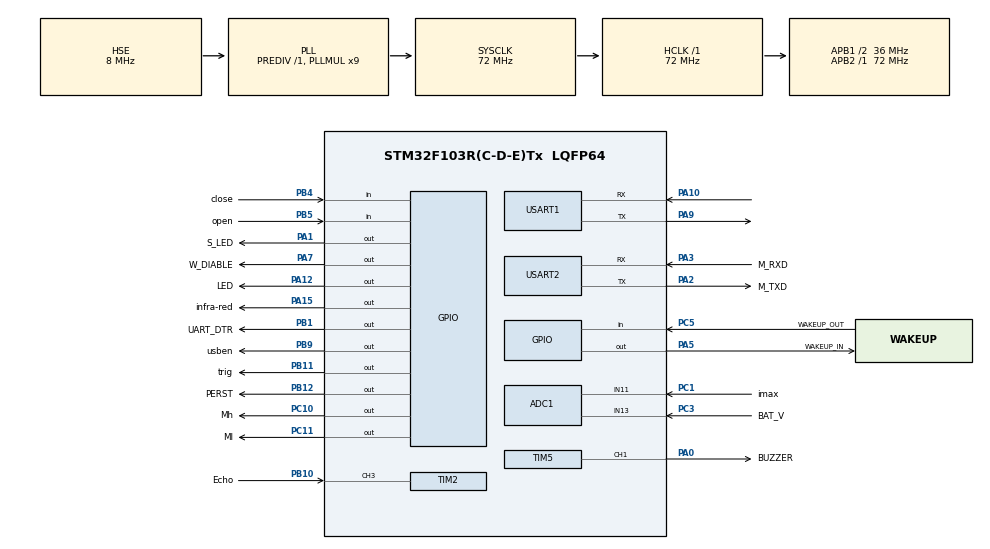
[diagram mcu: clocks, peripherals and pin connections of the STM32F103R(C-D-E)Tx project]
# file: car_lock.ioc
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ADC1.Channel-6\#ChannelRegularConversion=ADC_CHANNEL_11
ADC1.Channel-7\#ChannelRegularConversion=ADC_CHANNEL_11
ADC1.Channel-8\#ChannelRegularConversion=ADC_CHANNEL_13
ADC1.ContinuousConvMode=DISABLE
ADC1.DataAlign=ADC_DATAALIGN_RIGHT
ADC1.DiscontinuousConvMode=ENABLE
ADC1.EnableAnalogWatchDog=false
ADC1.EnableRegularConversion=ENABLE
ADC1.ExternalTrigConv=ADC_SOFTWARE_START
ADC1.InjNumberOfConversion=0
ADC1.NbrOfConversion=2
ADC1.NbrOfConversionFlag=1
ADC1.NbrOfDiscConversion=1
ADC1.Rank-6\#ChannelRegularConversion=2
ADC1.Rank-7\#ChannelRegularConversion=1
ADC1.Rank-8\#ChannelRegularConversion=2
ADC1.SamplingTime-6\#ChannelRegularConversion=ADC_SAMPLETIME_1CYCLE_5
ADC1.SamplingTime-7\#ChannelRegularConversion=ADC_SAMPLETIME_55CYCLES_5
ADC1.SamplingTime-8\#ChannelRegularConversion=ADC_SAMPLETIME_55CYCLES_5
ADC1.ScanConvMode=ADC_SCAN_ENABLE
ADC1.master=1
Dma.ADC1.2.Direction=DMA_PERIPH_TO_MEMORY
Dma.ADC1.2.Instance=DMA1_Channel1
Dma.ADC1.2.MemDataAlignment=DMA_MDATAALIGN_WORD
Dma.ADC1.2.MemInc=DMA_MINC_ENABLE
Dma.ADC1.2.Mode=DMA_CIRCULAR
Dma.ADC1.2.PeriphDataAlignment=DMA_PDATAALIGN_WORD
Dma.ADC1.2.PeriphInc=DMA_PINC_DISABLE
Dma.ADC1.2.Priority=DMA_PRIORITY_LOW
Dma.Request0=USART2_TX
Dma.Request1=USART2_RX
Dma.Request2=ADC1
Dma.USART2_RX.1.Direction=DMA_PERIPH_TO_MEMORY
Dma.USART2_RX.1.Instance=DMA1_Channel6
Dma.USART2_RX.1.MemDataAlignment=DMA_MDATAALIGN_BYTE
Dma.USART2_RX.1.MemInc=DMA_MINC_ENABLE
Dma.USART2_RX.1.Mode=DMA_NORMAL
Dma.USART2_RX.1.PeriphDataAlignment=DMA_PDATAALIGN_BYTE
Dma.USART2_RX.1.PeriphInc=DMA_PINC_DISABLE
Dma.USART2_RX.1.Priority=DMA_PRIORITY_LOW
Dma.USART2_TX.0.Direction=DMA_MEMORY_TO_PERIPH
Dma.USART2_TX.0.Instance=DMA1_Channel7
Dma.USART2_TX.0.MemDataAlignment=DMA_MDATAALIGN_BYTE
Dma.USART2_TX.0.MemInc=DMA_MINC_ENABLE
Dma.USART2_TX.0.Mode=DMA_NORMAL
Dma.USART2_TX.0.PeriphDataAlignment=DMA_PDATAALIGN_BYTE
Dma.USART2_TX.0.PeriphInc=DMA_PINC_DISABLE
Dma.USART2_TX.0.Priority=DMA_PRIORITY_LOW
FREERTOS.Queues01=EC20Queue,16,uint16_t,0,Dynamic,NULL,NULL;mqttQueue,16,uint16_t,0,Dynamic,NULL,NULL;controlQueue,2,uint16_t,0,Dynamic,NULL,NULL;statusQueue,2,uint16_t,0,Dynamic,NULL,NULL
FREERTOS.Tasks01=defaultTask,2,128,StartDefaultTask,Default,NULL,Dynamic,NULL,NULL;MQTT_Task,2,512,U_MQTT,Default,NULL,Dynamic,NULL,NULL;decod_Task,1,512,decoding,Default,NULL,Dynamic,NULL,NULL;monitorTask,0,256,monitor,Default,NULL,Dynamic,NULL,NULL;controlTask,1,256,control,Default,NULL,Dynamic,NULL,NULL
FREERTOS.configTOTAL_HEAP_SIZE=10240
Mcu.Family=STM32F1
Mcu.Name=STM32F103R(C-D-E)Tx
Mcu.Package=LQFP64
NVIC.DMA1_Channel1_IRQn=true\:7\:0\:true\:false\:true\:true\:false
NVIC.DMA1_Channel6_IRQn=true\:6\:0\:true\:false\:true\:true\:false
NVIC.DMA1_Channel7_IRQn=true\:6\:0\:true\:false\:true\:true\:false
NVIC.PriorityGroup=NVIC_PRIORITYGROUP_4
NVIC.TIM2_IRQn=true\:7\:0\:true\:false\:true\:true\:true
NVIC.TIM8_UP_IRQn=true\:0\:0\:false\:false\:true\:false\:false
NVIC.TimeBase=TIM8_UP_IRQn
NVIC.TimeBaseIP=TIM8
NVIC.USART2_IRQn=true\:6\:0\:true\:false\:true\:true\:true
PA0-WKUP.GPIO_Label=BUZZER
PA0-WKUP.Signal=S_TIM5_CH1
PA1.GPIO_Label=S_LED
PA1.Signal=GPIO_Output
PA10.Mode=Asynchronous
PA10.Signal=USART1_RX
PA12.GPIO_Label=LED
PA12.Signal=GPIO_Output
PA13.Mode=Serial_Wire
PA13.Signal=SYS_JTMS-SWDIO
PA14.Mode=Serial_Wire
PA14.Signal=SYS_JTCK-SWCLK
PA15.GPIO_Label=infra-red
PA15.Signal=GPIO_Output
PA2.GPIO_Label=M_TXD
PA2.Mode=Asynchronous
PA2.Signal=USART2_TX
PA3.GPIO_Label=M_RXD
PA3.Mode=Asynchronous
PA3.Signal=USART2_RX
PA5.GPIO_Label=WAKEUP_IN
PA5.Signal=GPIO_Output
PA7.GPIO_Label=W_DIABLE
PA7.PinState=GPIO_PIN_SET
PA7.Signal=GPIO_Output
PA9.Mode=Asynchronous
PA9.Signal=USART1_TX
PB1.GPIO_Label=UART_DTR
PB1.Signal=GPIO_Output
PB10.GPIO_Label=Echo
PB10.GPIO_PuPd=GPIO_PULLDOWN
PB10.Signal=S_TIM2_CH3
PB11.GPIO_Label=trig
PB11.Signal=GPIO_Output
PB12.GPIO_Label=PERST
PB12.PinState=GPIO_PIN_SET
PB12.Signal=GPIO_Output
PB4.GPIO_Label=close
PB4.Signal=GPIO_Input
PB5.GPIO_Label=open
PB5.Signal=GPIO_Input
PB9.GPIO_Label=usben
PB9.Signal=GPIO_Output
PC1.GPIO_Label=imax
PC1.Signal=ADCx_IN11
PC10.GPIO_Label=Mh
PC10.Signal=GPIO_Output
PC11.GPIO_Label=Ml
PC11.Signal=GPIO_Output
PC14-OSC32_IN.Mode=LSE-External-Oscillator
PC14-OSC32_IN.Signal=RCC_OSC32_IN
PC15-OSC32_OUT.Mode=LSE-External-Oscillator
PC15-OSC32_OUT.Signal=RCC_OSC32_OUT
PC3.GPIO_Label=BAT_V
PC3.Signal=ADCx_IN13
PC5.GPIO_Label=WAKEUP_OUT
PC5.Signal=GPIO_Input
PD0-OSC_IN.Mode=HSE-External-Oscillator
PD0-OSC_IN.Signal=RCC_OSC_IN
PD1-OSC_OUT.Mode=HSE-External-Oscillator
PD1-OSC_OUT.Signal=RCC_OSC_OUT
ProjectManager.HeapSize=0x600
ProjectManager.StackSize=0x800
ProjectManager.TargetToolchain=Other Toolchains (GPDSC)
RCC.ADCPresc=RCC_ADCPCLK2_DIV6
RCC.AHBFreq_Value=72000000
RCC.APB1CLKDivider=RCC_HCLK_DIV2
RCC.APB1Freq_Value=36000000
RCC.APB1TimFreq_Value=72000000
RCC.APB2Freq_Value=72000000
RCC.APB2TimFreq_Value=72000000
RCC.HCLKFreq_Value=72000000
RCC.PLLMUL=RCC_PLL_MUL9
RCC.PLLSourceVirtual=RCC_PLLSOURCE_HSE
RCC.SYSCLKFreq_VALUE=72000000
RCC.SYSCLKSource=RCC_SYSCLKSOURCE_PLLCLK
RCC.USBFreq_Value=48000000
RCC.USBPrescaler=RCC_USBCLKSOURCE_PLL_DIV1_5
SH.ADCx_IN11.0=ADC1_IN11,IN11
SH.ADCx_IN13.0=ADC1_IN13,IN13
SH.S_TIM2_CH3.0=TIM2_CH3,Input_Capture3_from_TI3
SH.S_TIM5_CH1.0=TIM5_CH1,PWM Generation1 CH1
TIM2.Channel-Input_Capture3_from_TI3=TIM_CHANNEL_3
TIM2.Period=0xffff
TIM2.Prescaler=719
TIM5.Channel-PWM\ Generation1\ CH1=TIM_CHANNEL_1
TIM5.ClockDivision=TIM_CLOCKDIVISION_DIV1
TIM5.Period=1000
TIM5.Prescaler=7199
TIM5.Pulse-PWM\ Generation1\ CH1=500
USART1.VirtualMode=VM_ASYNC
USART2.VirtualMode=VM_ASYNC
VP_FREERTOS_VS_ENABLE.Mode=Enabled
VP_SYS_VS_tim8.Mode=TIM8
VP_TIM2_VS_ClockSourceINT.Mode=Internal
board=custom

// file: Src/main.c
/**
  ******************************************************************************
  * @file           : main.c
  * @brief          : Main program body
  ******************************************************************************
  * This notice applies to any and all portions of this file
  * that are not between comment pairs USER CODE BEGIN and
  * USER CODE END. Other portions of this file, whether
  * inserted by the user or by software development tools
  * are owned by their respective copyright owners.
  *
  * Copyright (c) 2018 STMicroelectronics International N.V.
  * All rights reserved.
  *
  * Redistribution and use in source and binary forms, with or without
  * modification, are permitted, provided that the following conditions are met:
  *
  * 1. Redistribution of source code must retain the above copyright notice,
  *    this list of conditions and the following disclaimer.
  * 2. Redistributions in binary form must reproduce the above copyright notice,
  *    this list of conditions and the following disclaimer in the documentation
  *    and/or other materials provided with the distribution.
  * 3. Neither the name of STMicroelectronics nor the names of other
  *    contributors to this software may be used to endorse or promote products
  *    derived from this software without specific written permission.
  * 4. This software, including modifications and/or derivative works of this
  *    software, must execute solely and exclusively on microcontroller or
  *    microprocessor devices manufactured by or for STMicroelectronics.
  * 5. Redistribution and use of this software other than as permitted under
  *    this license is void and will automatically terminate your rights under
  *    this license.
  *
  * THIS SOFTWARE IS PROVIDED BY STMICROELECTRONICS AND CONTRIBUTORS "AS IS"
  * AND ANY EXPRESS, IMPLIED OR STATUTORY WARRANTIES, INCLUDING, BUT NOT
  * LIMITED TO, THE IMPLIED WARRANTIES OF MERCHANTABILITY, FITNESS FOR A
  * PARTICULAR PURPOSE AND NON-INFRINGEMENT OF THIRD PARTY INTELLECTUAL PROPERTY
  * RIGHTS ARE DISCLAIMED TO THE FULLEST EXTENT PERMITTED BY LAW. IN NO EVENT
  * SHALL STMICROELECTRONICS OR CONTRIBUTORS BE LIABLE FOR ANY DIRECT, INDIRECT,
  * INCIDENTAL, SPECIAL, EXEMPLARY, OR CONSEQUENTIAL DAMAGES (INCLUDING, BUT NOT
  * LIMITED TO, PROCUREMENT OF SUBSTITUTE GOODS OR SERVICES; LOSS OF USE, DATA,
  * OR PROFITS; OR BUSINESS INTERRUPTION) HOWEVER CAUSED AND ON ANY THEORY OF
  * LIABILITY, WHETHER IN CONTRACT, STRICT LIABILITY, OR TORT (INCLUDING
  * NEGLIGENCE OR OTHERWISE) ARISING IN ANY WAY OUT OF THE USE OF THIS SOFTWARE,
  * EVEN IF ADVISED OF THE POSSIBILITY OF SUCH DAMAGE.
  *
  ******************************************************************************
  */
#include "main.h"
#include "stm32f1xx_hal.h"
#include "cmsis_os.h"
#include "adc.h"
#include "dma.h"
#include "tim.h"
#include "usart.h"
#include "gpio.h"

/* USER CODE BEGIN PV */
/* Private variables ---------------------------------------------------------*/

/* USER CODE END PV */

void SystemClock_Config(void);
void MX_FREERTOS_Init(void);

/* USER CODE BEGIN PFP */
/* Private function prototypes -----------------------------------------------*/

/* USER CODE END PFP */

/* USER CODE BEGIN 0 */
#ifdef __GNUC__
/* With GCC, small printf (option LD Linker->Libraries->Small printf
   set to 'Yes') calls __io_putchar() */
#define PUTCHAR_PROTOTYPE int __io_putchar(int ch)
#else
#define PUTCHAR_PROTOTYPE int fputc(int ch, FILE *f)
#endif /* __GNUC__ */
/* USER CODE END 0 */

int main(void)
{

  /* MCU Configuration----------------------------------------------------------*/

  /* Reset of all peripherals, Initializes the Flash interface and the Systick. */
  HAL_Init();

  /* Configure the system clock */
  SystemClock_Config();

  /* Initialize all configured peripherals */
  MX_GPIO_Init();
  MX_DMA_Init();
  MX_ADC1_Init();
  MX_USART1_UART_Init();
  MX_USART2_UART_Init();
  MX_TIM2_Init();
  MX_TIM5_Init();
  /* USER CODE BEGIN 2 */

//	__HAL_UART_DISABLE_IT(&huart2, UART_IT_IDLE);
//	__HAL_UART_DISABLE_IT(&huart2, UART_IT_RXNE);
	__HAL_UART_ENABLE_IT(&huart2, UART_IT_IDLE);
	__HAL_UART_ENABLE_IT(&huart2, UART_IT_RXNE);

  /* USER CODE END 2 */

  /* Call init function for freertos objects (in freertos.c) */
  MX_FREERTOS_Init();

  /* Start scheduler */
  osKernelStart();

  /* We should never get here as control is now taken by the scheduler */

  /* Infinite loop */
  while (1)
  {

  }

}

void SystemClock_Config(void)
{

  RCC_OscInitTypeDef RCC_OscInitStruct;
  RCC_ClkInitTypeDef RCC_ClkInitStruct;
  RCC_PeriphCLKInitTypeDef PeriphClkInit;

    /**Initializes the CPU, AHB and APB busses clocks
    */
  RCC_OscInitStruct.OscillatorType = RCC_OSCILLATORTYPE_HSE;
  RCC_OscInitStruct.HSEState = RCC_HSE_ON;
  RCC_OscInitStruct.HSEPredivValue = RCC_HSE_PREDIV_DIV1;
  RCC_OscInitStruct.HSIState = RCC_HSI_ON;
  RCC_OscInitStruct.PLL.PLLState = RCC_PLL_ON;
  RCC_OscInitStruct.PLL.PLLSource = RCC_PLLSOURCE_HSE;
  RCC_OscInitStruct.PLL.PLLMUL = RCC_PLL_MUL9;
  if (HAL_RCC_OscConfig(&RCC_OscInitStruct) != HAL_OK)
  {
    _Error_Handler(__FILE__, __LINE__);
  }

    /**Initializes the CPU, AHB and APB busses clocks
    */
  RCC_ClkInitStruct.ClockType = RCC_CLOCKTYPE_HCLK|RCC_CLOCKTYPE_SYSCLK
                              |RCC_CLOCKTYPE_PCLK1|RCC_CLOCKTYPE_PCLK2;
  RCC_ClkInitStruct.SYSCLKSource = RCC_SYSCLKSOURCE_PLLCLK;
  RCC_ClkInitStruct.AHBCLKDivider = RCC_SYSCLK_DIV1;
  RCC_ClkInitStruct.APB1CLKDivider = RCC_HCLK_DIV2;
  RCC_ClkInitStruct.APB2CLKDivider = RCC_HCLK_DIV1;

  if (HAL_RCC_ClockConfig(&RCC_ClkInitStruct, FLASH_LATENCY_2) != HAL_OK)
  {
    _Error_Handler(__FILE__, __LINE__);
  }

  PeriphClkInit.PeriphClockSelection = RCC_PERIPHCLK_ADC;
  PeriphClkInit.AdcClockSelection = RCC_ADCPCLK2_DIV6;
  if (HAL_RCCEx_PeriphCLKConfig(&PeriphClkInit) != HAL_OK)
  {
    _Error_Handler(__FILE__, __LINE__);
  }

    /**Configure the Systick interrupt time
    */
  HAL_SYSTICK_Config(HAL_RCC_GetHCLKFreq()/1000);

    /**Configure the Systick
    */
  HAL_SYSTICK_CLKSourceConfig(SYSTICK_CLKSOURCE_HCLK);

  /* SysTick_IRQn interrupt configuration */
  HAL_NVIC_SetPriority(SysTick_IRQn, 15, 0);
}

/* USER CODE BEGIN 4 */
PUTCHAR_PROTOTYPE
{
	/* Place your implementation of fputc here */
	/* e.g. write a character to the USART3 and Loop until the end of transmission */

//	while (HAL_UART_GetState(&huart1) != HAL_UART_STATE_READY)
//	{
//	}
//	HAL_UART_Transmit(&huart2, (uint8_t *)&ch, 1,100);

	return ch;
}
/* USER CODE END 4 */

void HAL_TIM_PeriodElapsedCallback(TIM_HandleTypeDef *htim)
{
  if (htim->Instance == TIM8) {
    HAL_IncTick();
  }
}

void _Error_Handler(char *file, int line)
{
  while(1)
  {
  }
}

/************************ (C) COPYRIGHT STMicroelectronics *****END OF FILE****/

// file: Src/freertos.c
/**
  ******************************************************************************
  * File Name          : freertos.c
  * Description        : Code for freertos applications
  ******************************************************************************
  * This notice applies to any and all portions of this file
  * that are not between comment pairs USER CODE BEGIN and
  * USER CODE END. Other portions of this file, whether
  * inserted by the user or by software development tools
  * are owned by their respective copyright owners.
  *
  * Copyright (c) 2018 STMicroelectronics International N.V.
  * All rights reserved.
  *
  * Redistribution and use in source and binary forms, with or without
  * modification, are permitted, provided that the following conditions are met:
  *
  * 1. Redistribution of source code must retain the above copyright notice,
  *    this list of conditions and the following disclaimer.
  * 2. Redistributions in binary form must reproduce the above copyright notice,
  *    this list of conditions and the following disclaimer in the documentation
  *    and/or other materials provided with the distribution.
  * 3. Neither the name of STMicroelectronics nor the names of other
  *    contributors to this software may be used to endorse or promote products
  *    derived from this software without specific written permission.
  * 4. This software, including modifications and/or derivative works of this
  *    software, must execute solely and exclusively on microcontroller or
  *    microprocessor devices manufactured by or for STMicroelectronics.
  * 5. Redistribution and use of this software other than as permitted under
  *    this license is void and will automatically terminate your rights under
  *    this license.
  *
  * THIS SOFTWARE IS PROVIDED BY STMICROELECTRONICS AND CONTRIBUTORS "AS IS"
  * AND ANY EXPRESS, IMPLIED OR STATUTORY WARRANTIES, INCLUDING, BUT NOT
  * LIMITED TO, THE IMPLIED WARRANTIES OF MERCHANTABILITY, FITNESS FOR A
  * PARTICULAR PURPOSE AND NON-INFRINGEMENT OF THIRD PARTY INTELLECTUAL PROPERTY
  * RIGHTS ARE DISCLAIMED TO THE FULLEST EXTENT PERMITTED BY LAW. IN NO EVENT
  * SHALL STMICROELECTRONICS OR CONTRIBUTORS BE LIABLE FOR ANY DIRECT, INDIRECT,
  * INCIDENTAL, SPECIAL, EXEMPLARY, OR CONSEQUENTIAL DAMAGES (INCLUDING, BUT NOT
  * LIMITED TO, PROCUREMENT OF SUBSTITUTE GOODS OR SERVICES; LOSS OF USE, DATA,
  * OR PROFITS; OR BUSINESS INTERRUPTION) HOWEVER CAUSED AND ON ANY THEORY OF
  * LIABILITY, WHETHER IN CONTRACT, STRICT LIABILITY, OR TORT (INCLUDING
  * NEGLIGENCE OR OTHERWISE) ARISING IN ANY WAY OUT OF THE USE OF THIS SOFTWARE,
  * EVEN IF ADVISED OF THE POSSIBILITY OF SUCH DAMAGE.
  *
  ******************************************************************************
  */

#include "FreeRTOS.h"
#include "task.h"
#include "cmsis_os.h"

/* USER CODE BEGIN Includes */
#include "common.h"
#include "adc.h"
#include "tim.h"
#include "usart.h"
#include "gpio.h"
#include <semphr.h>
#include <stdarg.h>

#include "lock.h"

/* USER CODE END Includes */

osThreadId defaultTaskHandle;
osThreadId MQTT_TaskHandle;
osThreadId decod_TaskHandle;
osThreadId monitorTaskHandle;
osThreadId controlTaskHandle;
osMessageQId EC20QueueHandle;
osMessageQId mqttQueueHandle;
osMessageQId controlQueueHandle;
osMessageQId statusQueueHandle;

void StartDefaultTask(void const * argument);
void U_MQTT(void const * argument);
void decoding(void const * argument);
void monitor(void const * argument);
void control(void const * argument);

void MX_FREERTOS_Init(void); /* (MISRA C 2004 rule 8.1) */

/* USER CODE BEGIN FunctionPrototypes */
#define COUNTOF(__BUFFER__)   (sizeof(__BUFFER__) / sizeof(*(__BUFFER__)))
//uint8_t openlock(void);
//uint8_t closelock(void);
//uint8_t stoplock(void);
/* USER CODE END FunctionPrototypes */

/* Hook prototypes */

/* Init FreeRTOS */

void MX_FREERTOS_Init(void) {

  /* Create the thread(s) */
  /* definition and creation of defaultTask */
  osThreadDef(defaultTask, StartDefaultTask, osPriorityHigh, 0, 128);
  defaultTaskHandle = osThreadCreate(osThread(defaultTask), NULL);

  /* definition and creation of MQTT_Task */
  osThreadDef(MQTT_Task, U_MQTT, osPriorityHigh, 0, 512);
  MQTT_TaskHandle = osThreadCreate(osThread(MQTT_Task), NULL);

  /* definition and creation of decod_Task */
  osThreadDef(decod_Task, decoding, osPriorityAboveNormal, 0, 512);
  decod_TaskHandle = osThreadCreate(osThread(decod_Task), NULL);

  /* definition and creation of monitorTask */
  osThreadDef(monitorTask, monitor, osPriorityNormal, 0, 256);
  monitorTaskHandle = osThreadCreate(osThread(monitorTask), NULL);

  /* definition and creation of controlTask */
  osThreadDef(controlTask, control, osPriorityAboveNormal, 0, 256);
  controlTaskHandle = osThreadCreate(osThread(controlTask), NULL);

  /* Create the queue(s) */
  /* definition and creation of EC20Queue */
/* what about the sizeof here??? cd native code */
//  osMessageQDef(EC20Queue, 16, uint16_t);
//  EC20QueueHandle = osMessageCreate(osMessageQ(EC20Queue), NULL);

  /* definition and creation of mqttQueue */
/* what about the sizeof here??? cd native code */
  osMessageQDef(mqttQueue, 16, uint16_t);
  mqttQueueHandle = osMessageCreate(osMessageQ(mqttQueue), NULL);

  /* definition and creation of controlQueue */
/* what about the sizeof here??? cd native code */
  osMessageQDef(controlQueue, 2, uint16_t);
  controlQueueHandle = osMessageCreate(osMessageQ(controlQueue), NULL);

  /* definition and creation of statusQueue */
/* what about the sizeof here??? cd native code */
  osMessageQDef(statusQueue, 2, uint16_t);
  statusQueueHandle = osMessageCreate(osMessageQ(statusQueue), NULL);

  /* USER CODE BEGIN RTOS_QUEUES */
  /* add queues, ... */
osMessageQDef(EC20Queue, 16, sizeof(EC20_MSG_T));
	EC20QueueHandle = osMessageCreate(osMessageQ(EC20Queue), NULL);
  /* USER CODE END RTOS_QUEUES */
}

/* StartDefaultTask function */
void StartDefaultTask(void const * argument)
{

  /* USER CODE BEGIN StartDefaultTask */
	//	if (HAL_UART_Transmit(&huart2, (uint8_t*)aTxBuffer, (COUNTOF(aTxBuffer) - 1), 5000) != HAL_OK)
	//	{
	//		Error_Handler();
	//	}
HAL_GPIO_WritePin(infra_red_GPIO_Port, infra_red_Pin, GPIO_PIN_SET);

  /* Infinite loop */
  for(;;)
  {

//	  USER_Printf("hello\r\n");
    osDelay(1000);
  }
  /* USER CODE END StartDefaultTask */
}

/* U_MQTT function */
void U_MQTT(void const * argument)
{
  /* USER CODE BEGIN U_MQTT */
	ec20_send("AT", "OK", 10, 1000);
	ec20_send("ATE1", "OK", 10, 1000);
	ec20_send("ATV1", "OK", 10, 300);
	ec20_send("AT+CMEE=2", "OK", 10, 300);
	ec20_send("AT+CPIN?", "+CPIN: READY", 20, 1000);
	ec20_send("AT+CREG?", "+CREG: 0,1", 60, 1000);
	ec20_send("AT+CGREG?", "+CGREG: 0,1", 60, 1000);
	ec20_send("AT+QICSGP=1,1,\"CTNET\",\"\",\"\",0", "OK", 10, 1000);
	ec20_send("AT+QIACT=1", "OK", 10, 1000);
//	ec20_send("AT+QIOPEN=1,0,\"TCP\",\"115.29.240.46\",9000,0,1", "ok", 10, 300);
/*----------------------------------------------------------------------------------*/
	char open[] = { "open" };
	char close[] = { "close" };
	char stop[] = { "stop" };
	uint8_t mqttcontrol;
	BaseType_t xResult;
	const TickType_t xMaxBlockTime = pdMS_TO_TICKS(100); /*  wait_time */
	EC20_MSG_T *tcp_c_msg;
  /* Infinite loop */
  for(;;)
  {
	  xResult = xQueueReceive(EC20QueueHandle,
		  (void *)&tcp_c_msg,
		  (TickType_t)xMaxBlockTime); /* time */
	  if (xResult == pdPASS)
	  {
		  if (strncmp((char *)&tcp_c_msg->Data, (char *)&open, 4) == 0)
		  {
			  mqttcontrol = openlock;
			  if (xQueueSend(mqttQueueHandle, (void *) &mqttcontrol, (TickType_t)10) != pdPASS)
			  {
				  /* 发�?�失败，即使等待�?10个时钟节�? */
				  //mqttcontrol = normal;
			  }
			  else
			  {
				  /* 发�?�成�? */
			  }

		  }
		  if (strncmp((char *)&tcp_c_msg->Data, (char *)&close, 5) == 0)
		  {
			  mqttcontrol = closelock;
			  if (xQueueSend(mqttQueueHandle, (void *) &mqttcontrol, (TickType_t)10) != pdPASS)
			  {
				  /* 发�?�失败，即使等待�?10个时钟节�? */
				  //mqttcontrol = normal;
			  }
			  else
			  {
				  /* 发�?�成�? */
			  }

		  }
		  if (strncmp((char *)&tcp_c_msg->Data, (char *)&stop, 4) == 0)
		  {
		  }
		  /* memcpy(tcp_c_msg->Data, rs485, sizeof(rs485));*/
		  HAL_UART_Transmit(&huart2, tcp_c_msg->Data, tcp_c_msg->lengh, 0xFFFF);
		  memset(&EC20_MSG, 0, sizeof(EC20_MSG));
	  }
//	  ec20_cmd("ATV1", "ok", 10, 300);

//	  USER_Printf("hello\r\n");
    osDelay(50);
  }
  /* USER CODE END U_MQTT */
}

/* decoding function */
void decoding(void const * argument)
{
  /* USER CODE BEGIN decoding */
	BaseType_t xResult;
	const TickType_t xMaxBlockTime= pdMS_TO_TICKS(50); /* 设置�?大等待时间为ms */
	uint8_t status = stoplock, control, mqttcontrol;
	uint8_t controlflag = 0, sendflag = 1;
	//memset(tcp_c_msg, 0, sizeof(*tcp_c_msg));
  /* Infinite loop */
  for(;  ;)
	{
		xResult = xQueueReceive(mqttQueueHandle, (void *)&mqttcontrol, (TickType_t)xMaxBlockTime);
		if (xResult == pdPASS)
		{
			vTaskSuspend(monitorTaskHandle);
			control = mqttcontrol;
			controlflag = 1;
			sendflag = 0;
		}
		else
		{
			/* 超时 */

		}
		if (controlflag == 1)
		{	if (sendflag == 0)
			{
				if (xQueueSend(controlQueueHandle, (void *) &control, (TickType_t)10) != pdPASS)
				{
					/* 发�?�失败，即使等待�?10个时钟节�? */
				}
				else
				{
					sendflag = 1;
					/* 发�?�成�? */
				}
			}
			xResult = xQueueReceive(statusQueueHandle, (void *)&status, (TickType_t)xMaxBlockTime);
			if (xResult == pdPASS)
			{
				if (status == Blockage)
				{
////					control = stoplock;
////					sendflag = 0;
//
//					if (control == closelock)
//					{
//						control = openlock;
//						sendflag = 0;
//					}
//					else if (control == openlock)
//					{
//						control = closelock;
//						sendflag = 0;
//					}
				}
				else if (status == lock_open || status == lock_close || status == lock_stop)
				{
					vTaskResume(monitorTaskHandle);
					controlflag = 0;
					sendflag = 1;
//					control = stoplock;
				}
			}

		}
		osDelay(100);
	}
	//__set_FAULTMASK(1);
	//HAL_NVIC_SystemReset();
  /* USER CODE END decoding */
}

/* monitor function */
void monitor(void const * argument)
{
  /* USER CODE BEGIN monitor */
	BaseType_t xResult;
	const TickType_t xMaxBlockTime = pdMS_TO_TICKS(100); /* 设置�?大等待时间为ms */

	uint8_t controlflag = 0, sendflag = 1;
	uint8_t status = lock_stop, oldstatus = lock_open, control, mqttcontrol;
	uint16_t vbat;
	uint16_t Current;
	status = read_lockstatus();

	char buf[50] = { 0 };

	uint8_t len;

	  /* Infinite loop */
	for (;  ;)
	{
		if (controlflag == 0)
		{
			lcok_readadc(NULL, &vbat);
		//	USER_Printf("vbat:%d  \r\n", vbat);
			if (status == lock_open || status == lock_close)
			{
				oldstatus = status;
			}
			else
			{
				oldstatus = lock_open;
			}
			status = read_lockstatus();
			if (status == lock_illegalopen)
			{
				control = resetlock;
				controlflag = 1;
				sendflag = 0;
				HAL_TIM_PWM_Start(&htim5, TIM_CHANNEL_1);
			}
			else  if (status == lock_illegalclose)
			{
				HAL_TIM_PWM_Start(&htim5, TIM_CHANNEL_1);
				if (oldstatus == lock_open)
				{
					control = openlock;
					controlflag = 1;
					sendflag = 0;
				}
				else if (oldstatus == lock_close)
				{
					control = closelock;
					controlflag = 1;
					sendflag = 0;
				}
				else
				{
					control = openlock;
					controlflag = 1;
					sendflag = 0;
				}
			}
			else control = stoplock;
		}
		if (controlflag == 1)
		{
			if (sendflag == 0)
			{
				if (xQueueSend(controlQueueHandle, (void *) &control, (TickType_t)10) != pdPASS)
				{
					/* 发�?�失败，即使等待�?10个时钟节�? */
				}
				else
				{
					sendflag = 1;
					/* 发�?�成�? */
				}
			}
			xResult = xQueueReceive(statusQueueHandle, (void *)&status, (TickType_t)xMaxBlockTime);
			if (xResult == pdPASS)
			{
				//				if (status == Blockage)
				//				{
				////					controlflag = 0;
				//					control = stoplock;
				//					sendflag = 0;
				//				}
							 if(status == lock_open || status == lock_close || status == lock_stop)
				{
					controlflag = 0;
					sendflag = 1;
					HAL_TIM_PWM_Stop(&htim5, TIM_CHANNEL_1);
				}
			}
		}

		read_distance();
//		USER_Printf("close:%d  ", HAL_GPIO_ReadPin(close_GPIO_Port, close_Pin));
//		USER_Printf("open:%d  ", HAL_GPIO_ReadPin(open_GPIO_Port, open_Pin));
//		USER_Printf("control:%d  ", control);
//		USER_Printf("oldstatus:%d ", oldstatus);
//
//		USER_Printf("status:%d\r\n", status);
		HAL_GPIO_TogglePin(LED_GPIO_Port, LED_Pin);
		osDelay(30);
		HAL_GPIO_TogglePin(LED_GPIO_Port, LED_Pin);
		osDelay(100);
	}
  /* USER CODE END monitor */
}

/* control function */
void control(void const * argument)
{
  /* USER CODE BEGIN control */
	BaseType_t xResult;
	const TickType_t xMaxBlockTime = pdMS_TO_TICKS(50); /* 设置�?大等待时间为ms */
	uint16_t Current;
	uint8_t lock_status, lockcontrol, controlflag, M_control;
	uint8_t retry=0;
	uint32_t tickstart = 0U;

	M_control = normal;
	lock_status = lock_stop;
	controlflag = 0;
  /* Infinite loop */
  for(;;)
  {
	  xResult = xQueueReceive(controlQueueHandle, (void *)&lockcontrol,(TickType_t)xMaxBlockTime);
	  if (xResult == pdPASS)
	  {
		  M_control = lockcontrol;
			retry = 0;
	  }
	  else
	  {
		  /* 超时 */

	  }
	  if (M_control != normal)
	  {
		  lock_status = lock_control(M_control);
		  lcok_readadc(&Current, NULL);
		  if (Current > 1500)
		  {
			  retry++;
			  if(retry == 20)
			  {
				  retry = 0;
				  lcok_readadc(&Current, NULL);
				  if (Current > 1500)
				  {
					  lock_status = Blockage;
					  HAL_TIM_PWM_Start(&htim5, TIM_CHANNEL_1);
					  lock_control(stoplock);
					  osDelay(500);
					  if (M_control == openlock)
					  {
						  M_control = closelock;
					  }
					  else
					  {
						  M_control = openlock;
					  }
					  lock_control(M_control);
				  }
			  }
		  }
		  if (xQueueSend(statusQueueHandle, (void *)&lock_status, (TickType_t)10) == pdPASS)
		  {

		  }
		  else
		  {
			  //			  xQueueSend(statusQueueHandle, (void *)&lock_status, (TickType_t)10);
			  			  /* error */
		  }
		  if (lock_status == lock_open || lock_status == lock_close || lock_status == lock_stop)
		  {
			  M_control = normal;
			  HAL_TIM_PWM_Stop(&htim5, TIM_CHANNEL_1);
		  }

	  }
    osDelay(100);
  }
  /* USER CODE END control */
}

/* USER CODE BEGIN Application */
uint8_t ec20_send(char * cmd,char * ack,uint8_t retry,uint16_t timeout)
{
	uint8_t	ret = 1;

	BaseType_t xResult;
	uint8_t recvtimes;
	const TickType_t xMaxBlockTime = pdMS_TO_TICKS(timeout); /*  wait_time */
	EC20_MSG_T *ec20_msg;
	if (cmd!=NULL)
	{
		USER_Printf("%s\r\n", cmd);
	}
	while (retry--)
	{
		xResult = xQueueReceive(EC20QueueHandle,
			(void *)&ec20_msg,
			(TickType_t)xMaxBlockTime); /* time */
		if (xResult == pdPASS)
		{
			if (recvtimes==0)
			{
				if (strncmp((char *)cmd, (char *)cmd, sizeof(cmd)) == 0)
				{
					memset(&EC20_MSG, 0, sizeof(EC20_MSG));
					recvtimes = 1;
				}
			}
			else if (recvtimes ==1)
			{
				recvtimes = 0;
				HAL_UART_Transmit(&huart2, ec20_msg->Data, ec20_msg->lengh, 0xFFFF);
				if (strstr((char *)&ec20_msg->Data, (char *)ack))
				{
					ret = 0;
					memset(&EC20_MSG, 0, sizeof(EC20_MSG));
					break;
				}
			}
//			if (strncmp((char *)&ec20_msg->Data, (char *)ack, sizeof(ack)) == 0)
//			{
//				ret = 0;
//				memset(&EC20_MSG, 0, sizeof(EC20_MSG));
//				break;
//			}
			/* memcpy(tcp_c_msg->Data, rs485, sizeof(rs485));*/

			memset(&EC20_MSG, 0, sizeof(EC20_MSG));
		}
		else
		{
			if (cmd != NULL)
			{
				if (recvtimes == 0)
				{
					USER_Printf("%s\r\n", cmd);
				}

			}
		}
	}
	return ret;

}

void USER_Printf(const char *pFormat, ...)
{
	char buffer[128];

	va_list arg_ptr;
	va_start(arg_ptr, pFormat);
	vsnprintf(buffer, 128, pFormat, arg_ptr);
	HAL_UART_Transmit(&huart2, (uint8_t *)buffer, strlen(buffer), 0xFFFF);
	va_end(arg_ptr);
}

/* USER CODE END Application */

/************************ (C) COPYRIGHT STMicroelectronics *****END OF FILE****/
